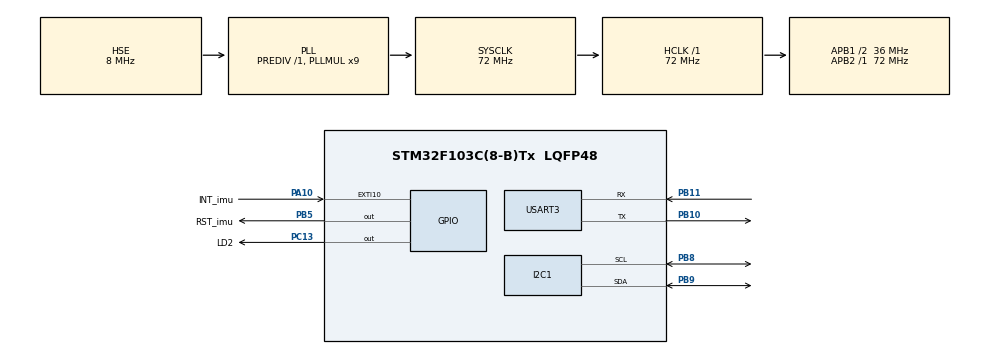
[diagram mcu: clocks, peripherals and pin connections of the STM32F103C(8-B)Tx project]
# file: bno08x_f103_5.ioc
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I2C1.I2C_Mode=I2C_Fast
IWDG.Prescaler=IWDG_PRESCALER_64
IWDG.Reload=624
Mcu.Family=STM32F1
Mcu.Name=STM32F103C(8-B)Tx
Mcu.Package=LQFP48
NVIC.EXTI15_10_IRQn=true\:0\:0\:false\:false\:true\:true\:true\:true
NVIC.PriorityGroup=NVIC_PRIORITYGROUP_4
PA10.GPIO_Label=INT_imu
PA10.GPIO_ModeDefaultEXTI=GPIO_MODE_IT_FALLING
PA10.Signal=GPXTI10
PA13.Mode=Serial_Wire
PA13.Signal=SYS_JTMS-SWDIO
PA14.Mode=Serial_Wire
PA14.Signal=SYS_JTCK-SWCLK
PB10.Mode=Asynchronous
PB10.Signal=USART3_TX
PB11.Mode=Asynchronous
PB11.Signal=USART3_RX
PB5.GPIO_Label=RST_imu
PB5.Signal=GPIO_Output
PB8.Mode=I2C
PB8.Signal=I2C1_SCL
PB9.Mode=I2C
PB9.Signal=I2C1_SDA
PC13-TAMPER-RTC.GPIO_Label=LD2
PC13-TAMPER-RTC.Signal=GPIO_Output
PD0-OSC_IN.Mode=HSE-External-Oscillator
PD0-OSC_IN.Signal=RCC_OSC_IN
PD1-OSC_OUT.Mode=HSE-External-Oscillator
PD1-OSC_OUT.Signal=RCC_OSC_OUT
ProjectManager.HeapSize=0x200
ProjectManager.StackSize=0x400
ProjectManager.TargetToolchain=STM32CubeIDE
RCC.AHBFreq_Value=72000000
RCC.APB1CLKDivider=RCC_HCLK_DIV2
RCC.APB1Freq_Value=36000000
RCC.APB1TimFreq_Value=72000000
RCC.APB2Freq_Value=72000000
RCC.APB2TimFreq_Value=72000000
RCC.HCLKFreq_Value=72000000
RCC.PLLMUL=RCC_PLL_MUL9
RCC.PLLSourceVirtual=RCC_PLLSOURCE_HSE
RCC.SYSCLKFreq_VALUE=72000000
RCC.SYSCLKSource=RCC_SYSCLKSOURCE_PLLCLK
RCC.USBFreq_Value=72000000
USART3.VirtualMode=VM_ASYNC
VP_IWDG_VS_IWDG.Mode=IWDG_Activate
board=custom

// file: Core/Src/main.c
/* USER CODE BEGIN Header */
/**
  ******************************************************************************
  * @file           : main.c
  * @brief          : Main program body
  ******************************************************************************
  * @attention
  *
  * Copyright (c) 2026 STMicroelectronics.
  * All rights reserved.
  *
  * This software is licensed under terms that can be found in the LICENSE file
  * in the root directory of this software component.
  * If no LICENSE file comes with this software, it is provided AS-IS.
  *
  ******************************************************************************
  */
/* USER CODE END Header */
#include "main.h"
#include "i2c.h"
#include "usart.h"
#include "gpio.h"

/* USER CODE BEGIN Includes */
#include "bno08x/imu.h"

/* USER CODE END Includes */

/* USER CODE BEGIN PV */
uint8_t power_on_reset;
/* USER CODE END PV */

void SystemClock_Config(void);

int main(void)
{

  /* MCU Configuration--------------------------------------------------------*/

  /* Reset of all peripherals, Initializes the Flash interface and the Systick. */
  HAL_Init();

  /* Configure the system clock */
  SystemClock_Config();

  /* USER CODE BEGIN SysInit */
  // 1. Capturamos el estado ANTES de limpiar
    // Verificamos si el reset fue por encendido (POR) o Brown-out (BOR)
    if (__HAL_RCC_GET_FLAG(RCC_FLAG_PORRST) != RESET) {
        power_on_reset = 1U;
    } else {
        power_on_reset = 0U;
    }

    // 2. Limpiamos los flags para la próxima vez
    __HAL_RCC_CLEAR_RESET_FLAGS();

    // 3. Si fue un encendido en frío, esperamos al BNO08x
    if (power_on_reset == 1U) {
        // 500ms suelen ser suficientes para el BNO08x,
        // pero si pusiste 5000 (5 seg) por seguridad, está bien.
        HAL_Delay(1000);
    }
  /* USER CODE END SysInit */

  /* Initialize all configured peripherals */
  MX_GPIO_Init();
  MX_I2C1_Init();
  MX_USART3_UART_Init();
  /* USER CODE BEGIN 2 */
  if (imu_init() != 0)
  {
    Error_Handler();
  }
  /* USER CODE END 2 */

  /* Infinite loop */
  while (1)
  {

    /* USER CODE BEGIN 3 */

    // ===== SERVICIO DEL MÓDULO IMU =====
    // Esta función:
    // - Lee datos del IMU vía sh2_service() (no bloquea)
    // - Procesa datos si están disponibles
    // - Envía datos por UART si hay nuevos datos
    imu_service();

    // Pequeño delay para evitar saturar el CPU
    HAL_Delay(1);
  }
  /* USER CODE END 3 */
}

void SystemClock_Config(void)
{
  RCC_OscInitTypeDef RCC_OscInitStruct = {0};
  RCC_ClkInitTypeDef RCC_ClkInitStruct = {0};

  /** Initializes the RCC Oscillators according to the specified parameters
  * in the RCC_OscInitTypeDef structure.
  */
  RCC_OscInitStruct.OscillatorType = RCC_OSCILLATORTYPE_LSI|RCC_OSCILLATORTYPE_HSE;
  RCC_OscInitStruct.HSEState = RCC_HSE_ON;
  RCC_OscInitStruct.HSEPredivValue = RCC_HSE_PREDIV_DIV1;
  RCC_OscInitStruct.HSIState = RCC_HSI_ON;
  RCC_OscInitStruct.LSIState = RCC_LSI_ON;
  RCC_OscInitStruct.PLL.PLLState = RCC_PLL_ON;
  RCC_OscInitStruct.PLL.PLLSource = RCC_PLLSOURCE_HSE;
  RCC_OscInitStruct.PLL.PLLMUL = RCC_PLL_MUL9;
  if (HAL_RCC_OscConfig(&RCC_OscInitStruct) != HAL_OK)
  {
    Error_Handler();
  }

  /** Initializes the CPU, AHB and APB buses clocks
  */
  RCC_ClkInitStruct.ClockType = RCC_CLOCKTYPE_HCLK|RCC_CLOCKTYPE_SYSCLK
                              |RCC_CLOCKTYPE_PCLK1|RCC_CLOCKTYPE_PCLK2;
  RCC_ClkInitStruct.SYSCLKSource = RCC_SYSCLKSOURCE_PLLCLK;
  RCC_ClkInitStruct.AHBCLKDivider = RCC_SYSCLK_DIV1;
  RCC_ClkInitStruct.APB1CLKDivider = RCC_HCLK_DIV2;
  RCC_ClkInitStruct.APB2CLKDivider = RCC_HCLK_DIV1;

  if (HAL_RCC_ClockConfig(&RCC_ClkInitStruct, FLASH_LATENCY_2) != HAL_OK)
  {
    Error_Handler();
  }
}

/* USER CODE BEGIN 4 */

void HAL_GPIO_EXTI_Callback(uint16_t GPIO_Pin)
{
	if(GPIO_Pin == INT_imu_Pin)
	{
		HAL_GPIO_TogglePin(LD2_GPIO_Port, LD2_Pin);
	}
}

/* USER CODE END 4 */

void Error_Handler(void)
{
  __disable_irq();
  while (1)
  {
  }
}
